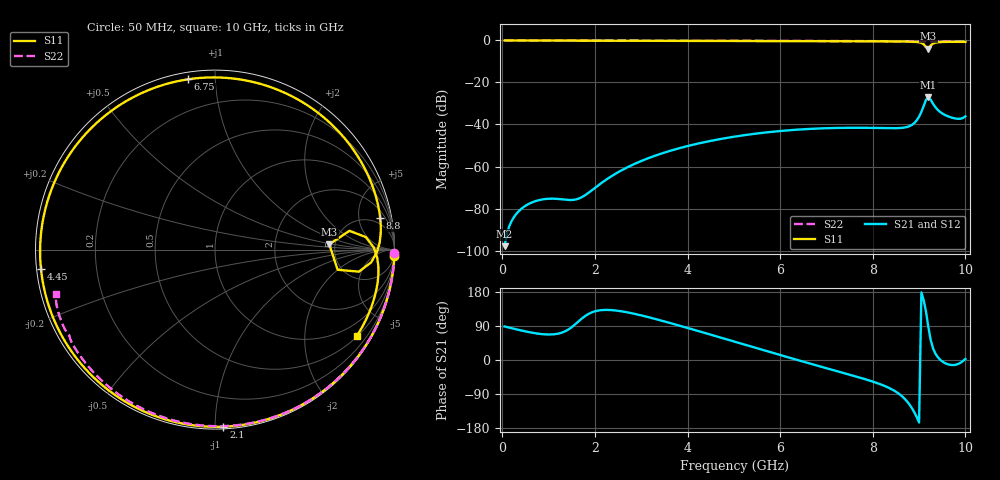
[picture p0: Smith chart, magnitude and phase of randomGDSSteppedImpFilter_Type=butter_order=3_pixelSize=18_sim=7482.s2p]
! freq	dB(S11)	phase(S11)	dB(S12)	phase(S12)
!  dB(S21)	phase(S21)	dB(S22)	phase(S22)
!S-par simulation data
#  GHz  S  DB  R 50
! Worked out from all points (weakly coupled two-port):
!   200 points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, 50 MHz to 10 GHz, reference 50 ohm
!   highest |S21| = -27.00 dB at 9.2 GHz (marker M1); lowest = -97.9 dB at 50 MHz (marker M2)
!   lowest |S11| = -3.9 dB at 9.2 GHz (marker M3), VSWR 4.51, Z = 223 + j21.8 ohm
!   |S11| at or under -10 dB: nowhere
!   |S22| runs from -0.7 to 0.0 dB; largest |S21 - S12| = 0
!   S11 on the Smith chart (normalised r, x): 50 MHz: 0, -52; 2.1 GHz: 0.01, -1.05; 4.45 GHz: 0.01, -0.06; 6.75 GHz: 0.03, +0.85; 8.8 GHz: 3, +9; 10 GHz: 0.53, -3.51
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0.05  -0.00 -2.2  -97.91 88.5  -97.91 88.5  -0.00 -0.9
0.4  -0.02 -17.3  -80.35 78.1  -80.35 78.1  -0.01 -7.4
0.8  -0.04 -34.4  -75.95 69.1  -75.95 69.1  -0.02 -14.8
1.75  -0.09 -73.5  -74.17 112.5  -74.17 112.5  -0.04 -32.1
2.1  -0.11 -87.3  -68.52 131.0  -68.52 131.0  -0.05 -38.3
2.7  -0.13 -110.1  -60.38 125.7  -60.38 125.7  -0.06 -48.9
3.4  -0.16 -135.8  -54.09 105.2  -54.09 105.2  -0.08 -60.8
4.45  -0.21 -173.5  -48.02 68.7  -48.02 68.7  -0.11 -78.1
5.05  -0.25 164.7  -45.66 47.2  -45.66 47.2  -0.13 -87.6
5.8  -0.30 136.6  -43.53 20.3  -43.53 20.3  -0.17 -99.2
6.7  -0.35 101.0  -42.03 -11.3  -42.03 -11.3  -0.22 -112.7
6.75  -0.35 99.0  -41.98 -13.1  -41.98 -13.1  -0.22 -113.5
7.55  -0.39 65.7  -41.56 -40.4  -41.56 -40.4  -0.28 -125.2
8.35  -0.45 31.4  -41.75 -73.7  -41.75 -73.7  -0.35 -137.0
8.8  -0.56 10.8  -40.72 -118.8  -40.72 -118.8  -0.40 -143.7
8.95  -0.74 2.4  -38.00 -150.9  -38.00 -150.9  -0.42 -146.0
9.1  -1.82 -8.7  -31.19 157.3  -31.19 157.3  -0.47 -148.4
9.2  -3.91 2.6  -27.00 87.3  -27.00 87.3  -0.52 -149.6
9.25  -2.43 8.0  -28.20 52.9  -28.20 52.9  -0.50 -150.2
9.4  -0.87 -2.7  -32.97 8.1  -32.97 8.1  -0.48 -152.7
9.75  -0.65 -20.6  -36.99 -13.3  -36.99 -13.3  -0.55 -158.9
10  -0.68 -31.2  -36.12 2.6  -36.12 2.6  -0.72 -164.3
